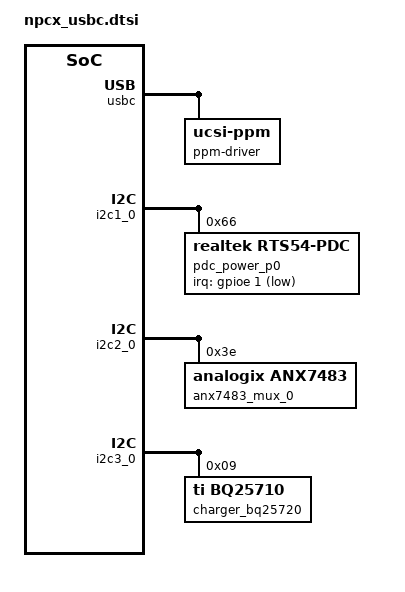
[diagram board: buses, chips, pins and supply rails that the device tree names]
/* Copyright 2025 The ChromiumOS Authors
 * Use of this source code is governed by a BSD-style license that can be
 * found in the LICENSE file.
 */

#include <dt-bindings/usbc_mux.h>
#include <usbc-policy.dtsi>

/ {
	usbc {
		#address-cells = <1>;
		#size-cells = <0>;

		usbc_port0: port0@0 {
			compatible = "named-usbc-port";
			ccd;
			reg = <0>;
			chg = <&charger_bq25720>;
			pdc = <&pdc_power_p0>;
			policy = <&cros_policy>;
			usb-mux-chain-0 {
				compatible = "cros-ec,usb-mux-chain";
				usb-muxes = <&anx7483_mux_0 &virtual_mux_0>;
			};
		};

		port0-muxes {
			virtual_mux_0: virtual-mux-0 {
				compatible = "cros-ec,usbc-mux-virtual";
			};
		};

		ppm-driver {
			compatible = "ucsi-ppm";
		};
	};
};

&i2c1_0 {
	pdc_power_p0: rts54-pdc@66 {
		compatible = "realtek,rts54-pdc";
		reg = <0x66>;
		irq-gpios = <&gpioe 1 GPIO_ACTIVE_LOW>;
	};
	/* TODO(b:380121396): enable PDC I2C_S port if we need it */
};

&i2c2_0 {
	anx7483_mux_0: anx7483-mux-0@3e {
		compatible = "analogix,anx7483";
		reg = <0x3e>;
		board-set = "anx7483_set_default_tuning";
		flags = <USB_MUX_FLAG_RESETS_IN_G3>;
	};
};

&i2c3_0 {
	charger_bq25720: bq25720@9 {
		compatible = "ti,bq25710";
		status = "okay";
		reg = <0x9>;
	};
};

